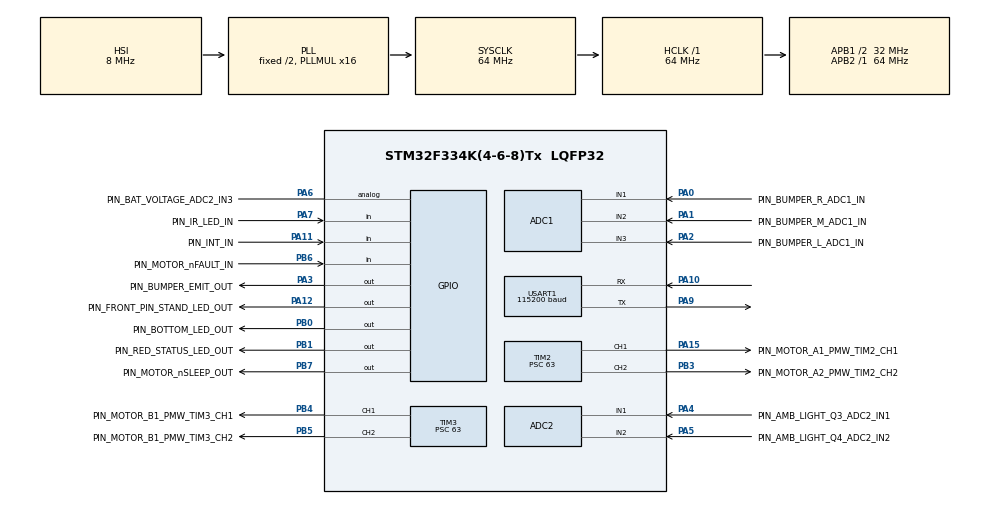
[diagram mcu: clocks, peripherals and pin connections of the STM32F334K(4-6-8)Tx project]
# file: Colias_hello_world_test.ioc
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ADC1.Channel-0\#ChannelRegularConversion=ADC_CHANNEL_1
ADC1.NbrOfConversionFlag=1
ADC1.Offset-0\#ChannelRegularConversion=0
ADC1.OffsetNumber-0\#ChannelRegularConversion=ADC_OFFSET_NONE
ADC1.Rank-0\#ChannelRegularConversion=1
ADC1.SamplingTime-0\#ChannelRegularConversion=ADC_SAMPLETIME_1CYCLE_5
ADC1.SubFamily=STM32F334x8
ADC1.master=1
ADC2.Channel-1\#ChannelRegularConversion=ADC_CHANNEL_1
ADC2.NbrOfConversionFlag=1
ADC2.Offset-1\#ChannelRegularConversion=0
ADC2.OffsetNumber-1\#ChannelRegularConversion=ADC_OFFSET_NONE
ADC2.Rank-1\#ChannelRegularConversion=1
ADC2.SamplingTime-1\#ChannelRegularConversion=ADC_SAMPLETIME_1CYCLE_5
ADC2.SubFamily=STM32F334x8
Mcu.Family=STM32F3
Mcu.Name=STM32F334K(4-6-8)Tx
Mcu.Package=LQFP32
NVIC.PriorityGroup=NVIC_PRIORITYGROUP_4
PA0.GPIO_Label=PIN_BUMPER_R_ADC1_IN
PA0.Mode=IN1-Single-Ended
PA0.Signal=ADC1_IN1
PA1.GPIO_Label=PIN_BUMPER_M_ADC1_IN
PA1.Mode=IN2-Single-Ended
PA1.Signal=ADC1_IN2
PA10.Mode=Asynchronous
PA10.Signal=USART1_RX
PA11.GPIO_Label=PIN_INT_IN
PA11.Signal=GPIO_Input
PA12.GPIO_Label=PIN_FRONT_PIN_STAND_LED_OUT
PA12.Signal=GPIO_Output
PA13.Mode=Serial_Wire
PA13.Signal=SYS_JTMS-SWDIO
PA14.Mode=Serial_Wire
PA14.Signal=SYS_JTCK-SWCLK
PA15.GPIO_Label=PIN_MOTOR_A1_PMW_TIM2_CH1
PA15.Signal=S_TIM2_CH1_ETR
PA2.GPIO_Label=PIN_BUMPER_L_ADC1_IN
PA2.Mode=IN3-Single-Ended
PA2.Signal=ADC1_IN3
PA3.GPIO_Label=PIN_BUMPER_EMIT_OUT
PA3.Signal=GPIO_Output
PA4.GPIO_Label=PIN_AMB_LIGHT_Q3_ADC2_IN1
PA4.Mode=IN1-Single-Ended
PA4.Signal=ADC2_IN1
PA5.GPIO_Label=PIN_AMB_LIGHT_Q4_ADC2_IN2
PA5.Mode=IN2-Single-Ended
PA5.Signal=ADC2_IN2
PA6.GPIO_Label=PIN_BAT_VOLTAGE_ADC2_IN3
PA6.Signal=SharedAnalog_PA6
PA7.GPIO_Label=PIN_IR_LED_IN
PA7.Signal=GPIO_Input
PA9.Mode=Asynchronous
PA9.Signal=USART1_TX
PB0.GPIO_Label=PIN_BOTTOM_LED_OUT
PB0.Signal=GPIO_Output
PB1.GPIO_Label=PIN_RED_STATUS_LED_OUT
PB1.Signal=GPIO_Output
PB3.GPIO_Label=PIN_MOTOR_A2_PMW_TIM2_CH2
PB3.Signal=S_TIM2_CH2
PB4.GPIO_Label=PIN_MOTOR_B1_PMW_TIM3_CH1
PB4.Signal=S_TIM3_CH1
PB5.GPIO_Label=PIN_MOTOR_B1_PMW_TIM3_CH2
PB5.Signal=S_TIM3_CH2
PB6.GPIO_Label=PIN_MOTOR_nFAULT_IN
PB6.Signal=GPIO_Input
PB7.GPIO_Label=PIN_MOTOR_nSLEEP_OUT
PB7.Signal=GPIO_Output
ProjectManager.HeapSize=0x200
ProjectManager.StackSize=0x400
ProjectManager.TargetToolchain=STM32CubeIDE
RCC.AHBFreq_Value=64000000
RCC.APB1CLKDivider=RCC_HCLK_DIV2
RCC.APB1Freq_Value=32000000
RCC.APB1TimFreq_Value=64000000
RCC.APB2Freq_Value=64000000
RCC.APB2TimFreq_Value=64000000
RCC.CortexFreq_Value=64000000
RCC.HCLKFreq_Value=64000000
RCC.HSE_VALUE=8000000
RCC.HSI_VALUE=8000000
RCC.PLLMUL=RCC_PLL_MUL16
RCC.SYSCLKFreq_VALUE=64000000
RCC.SYSCLKSourceVirtual=RCC_SYSCLKSOURCE_PLLCLK
SH.S_TIM2_CH1_ETR.0=TIM2_CH1,PWM Generation1 CH1
SH.S_TIM2_CH2.0=TIM2_CH2,PWM Generation2 CH2
SH.S_TIM3_CH1.0=TIM3_CH1,PWM Generation1 CH1
SH.S_TIM3_CH2.0=TIM3_CH2,PWM Generation2 CH2
SH.SharedAnalog_PA6.0=GPIO_Analog
SH.SharedAnalog_PA6.1=ADC2_IN3
TIM2.AutoReloadPreload=TIM_AUTORELOAD_PRELOAD_ENABLE
TIM2.Channel-PWM\ Generation1\ CH1=TIM_CHANNEL_1
TIM2.Channel-PWM\ Generation2\ CH2=TIM_CHANNEL_2
TIM2.Period=999
TIM2.Prescaler=63
TIM3.Channel-PWM\ Generation1\ CH1=TIM_CHANNEL_1
TIM3.Channel-PWM\ Generation2\ CH2=TIM_CHANNEL_2
TIM3.Period=999
TIM3.Prescaler=63
USART1.BaudRate=115200
USART1.VirtualMode-Asynchronous=VM_ASYNC
VP_TIM2_VS_ClockSourceINT.Mode=Internal
VP_TIM3_VS_ClockSourceINT.Mode=Internal
board=custom

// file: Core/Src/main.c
/* USER CODE BEGIN Header */
/**
  ******************************************************************************
  * @file           : main.c
  * @brief          : Main program body
  ******************************************************************************
  * @attention
  *
  * Copyright (c) 2024 STMicroelectronics.
  * All rights reserved.
  *
  * This software is licensed under terms that can be found in the LICENSE file
  * in the root directory of this software component.
  * If no LICENSE file comes with this software, it is provided AS-IS.
  *
  ******************************************************************************
  */
/* USER CODE END Header */
#include "main.h"

ADC_HandleTypeDef hadc1;
ADC_HandleTypeDef hadc2;

TIM_HandleTypeDef htim2;
TIM_HandleTypeDef htim3;

UART_HandleTypeDef huart1;

void SystemClock_Config(void);
static void MX_GPIO_Init(void);
static void MX_ADC1_Init(void);
static void MX_ADC2_Init(void);
static void MX_USART1_UART_Init(void);
static void MX_TIM2_Init(void);
static void MX_TIM3_Init(void);

int main(void)
{

  /* MCU Configuration--------------------------------------------------------*/

  /* Reset of all peripherals, Initializes the Flash interface and the Systick. */
  HAL_Init();

  /* Configure the system clock */
  SystemClock_Config();

  /* Initialize all configured peripherals */
  MX_GPIO_Init();
  MX_ADC1_Init();
  MX_ADC2_Init();
  MX_USART1_UART_Init();
  MX_TIM2_Init();
  MX_TIM3_Init();
  /* USER CODE BEGIN 2 */
  uint8_t message[] = "hello\r\n";

  HAL_TIM_PWM_Start(&htim2, TIM_CHANNEL_1);
  HAL_TIM_PWM_Start(&htim2, TIM_CHANNEL_2);
  HAL_TIM_PWM_Start(&htim3, TIM_CHANNEL_1);
  HAL_TIM_PWM_Start(&htim3, TIM_CHANNEL_2);

  HAL_GPIO_WritePin(PIN_MOTOR_nSLEEP_OUT_GPIO_Port, PIN_MOTOR_nSLEEP_OUT_Pin, GPIO_PIN_SET);

  int32_t leftMotorPWM = 0;

  /* USER CODE END 2 */

  /* Infinite loop */
  while (1)
  {

    /* USER CODE BEGIN 3 */

	  /* Transmit "hello" via UART */
	 HAL_UART_Transmit(&huart1, message, sizeof(message) - 1, HAL_MAX_DELAY); // Transmit "hello"
	 HAL_GPIO_TogglePin(PIN_RED_STATUS_LED_OUT_GPIO_Port, PIN_RED_STATUS_LED_OUT_Pin);

	 __HAL_TIM_SET_COMPARE(&htim2, TIM_CHANNEL_2, 500);
	 __HAL_TIM_SET_COMPARE(&htim3, TIM_CHANNEL_2, 500);

//	 TIM2->CCR2 = PWM_MAX/2;
	 HAL_Delay(1000); // Delay 1 second

	 __HAL_TIM_SET_COMPARE(&htim2, TIM_CHANNEL_2, 0);
	 __HAL_TIM_SET_COMPARE(&htim3, TIM_CHANNEL_2, 0);
//	 TIM2->CCR2 = 0;
	 HAL_Delay(1000); // Delay 1 second

	 __HAL_TIM_SET_COMPARE(&htim2, TIM_CHANNEL_1, 500);
	 __HAL_TIM_SET_COMPARE(&htim3, TIM_CHANNEL_1, 500);
//	 TIM2->CCR2 = PWM_MAX/2;
	 HAL_Delay(1000); // Delay 1 second

	 __HAL_TIM_SET_COMPARE(&htim2, TIM_CHANNEL_1, 0);
	 __HAL_TIM_SET_COMPARE(&htim3, TIM_CHANNEL_1, 0);
//	 TIM2->CCR2 = 0;
	 HAL_Delay(1000); // Delay 1 second

  }
  /* USER CODE END 3 */
}

void SystemClock_Config(void)
{
  RCC_OscInitTypeDef RCC_OscInitStruct = {0};
  RCC_ClkInitTypeDef RCC_ClkInitStruct = {0};
  RCC_PeriphCLKInitTypeDef PeriphClkInit = {0};

  /** Initializes the RCC Oscillators according to the specified parameters
  * in the RCC_OscInitTypeDef structure.
  */
  RCC_OscInitStruct.OscillatorType = RCC_OSCILLATORTYPE_HSI;
  RCC_OscInitStruct.HSIState = RCC_HSI_ON;
  RCC_OscInitStruct.HSICalibrationValue = RCC_HSICALIBRATION_DEFAULT;
  RCC_OscInitStruct.PLL.PLLState = RCC_PLL_ON;
  RCC_OscInitStruct.PLL.PLLSource = RCC_PLLSOURCE_HSI;
  RCC_OscInitStruct.PLL.PLLMUL = RCC_PLL_MUL16;
  if (HAL_RCC_OscConfig(&RCC_OscInitStruct) != HAL_OK)
  {
    Error_Handler();
  }

  /** Initializes the CPU, AHB and APB buses clocks
  */
  RCC_ClkInitStruct.ClockType = RCC_CLOCKTYPE_HCLK|RCC_CLOCKTYPE_SYSCLK
                              |RCC_CLOCKTYPE_PCLK1|RCC_CLOCKTYPE_PCLK2;
  RCC_ClkInitStruct.SYSCLKSource = RCC_SYSCLKSOURCE_PLLCLK;
  RCC_ClkInitStruct.AHBCLKDivider = RCC_SYSCLK_DIV1;
  RCC_ClkInitStruct.APB1CLKDivider = RCC_HCLK_DIV2;
  RCC_ClkInitStruct.APB2CLKDivider = RCC_HCLK_DIV1;

  if (HAL_RCC_ClockConfig(&RCC_ClkInitStruct, FLASH_LATENCY_2) != HAL_OK)
  {
    Error_Handler();
  }
  PeriphClkInit.PeriphClockSelection = RCC_PERIPHCLK_USART1|RCC_PERIPHCLK_ADC12;
  PeriphClkInit.Usart1ClockSelection = RCC_USART1CLKSOURCE_PCLK1;
  PeriphClkInit.Adc12ClockSelection = RCC_ADC12PLLCLK_DIV1;
  if (HAL_RCCEx_PeriphCLKConfig(&PeriphClkInit) != HAL_OK)
  {
    Error_Handler();
  }
}

static void MX_ADC1_Init(void)
{

  ADC_MultiModeTypeDef multimode = {0};
  ADC_ChannelConfTypeDef sConfig = {0};

  /** Common config
  */
  hadc1.Instance = ADC1;
  hadc1.Init.ClockPrescaler = ADC_CLOCK_ASYNC_DIV1;
  hadc1.Init.Resolution = ADC_RESOLUTION_12B;
  hadc1.Init.ScanConvMode = ADC_SCAN_DISABLE;
  hadc1.Init.ContinuousConvMode = DISABLE;
  hadc1.Init.DiscontinuousConvMode = DISABLE;
  hadc1.Init.ExternalTrigConvEdge = ADC_EXTERNALTRIGCONVEDGE_NONE;
  hadc1.Init.ExternalTrigConv = ADC_SOFTWARE_START;
  hadc1.Init.DataAlign = ADC_DATAALIGN_RIGHT;
  hadc1.Init.NbrOfConversion = 1;
  hadc1.Init.DMAContinuousRequests = DISABLE;
  hadc1.Init.EOCSelection = ADC_EOC_SINGLE_CONV;
  hadc1.Init.LowPowerAutoWait = DISABLE;
  hadc1.Init.Overrun = ADC_OVR_DATA_OVERWRITTEN;
  if (HAL_ADC_Init(&hadc1) != HAL_OK)
  {
    Error_Handler();
  }

  /** Configure the ADC multi-mode
  */
  multimode.Mode = ADC_MODE_INDEPENDENT;
  if (HAL_ADCEx_MultiModeConfigChannel(&hadc1, &multimode) != HAL_OK)
  {
    Error_Handler();
  }

  /** Configure Regular Channel
  */
  sConfig.Channel = ADC_CHANNEL_1;
  sConfig.Rank = ADC_REGULAR_RANK_1;
  sConfig.SingleDiff = ADC_SINGLE_ENDED;
  sConfig.SamplingTime = ADC_SAMPLETIME_1CYCLE_5;
  sConfig.OffsetNumber = ADC_OFFSET_NONE;
  sConfig.Offset = 0;
  if (HAL_ADC_ConfigChannel(&hadc1, &sConfig) != HAL_OK)
  {
    Error_Handler();
  }

}

static void MX_ADC2_Init(void)
{

  ADC_ChannelConfTypeDef sConfig = {0};

  /** Common config
  */
  hadc2.Instance = ADC2;
  hadc2.Init.ClockPrescaler = ADC_CLOCK_ASYNC_DIV1;
  hadc2.Init.Resolution = ADC_RESOLUTION_12B;
  hadc2.Init.ScanConvMode = ADC_SCAN_DISABLE;
  hadc2.Init.ContinuousConvMode = DISABLE;
  hadc2.Init.DiscontinuousConvMode = DISABLE;
  hadc2.Init.ExternalTrigConvEdge = ADC_EXTERNALTRIGCONVEDGE_NONE;
  hadc2.Init.ExternalTrigConv = ADC_SOFTWARE_START;
  hadc2.Init.DataAlign = ADC_DATAALIGN_RIGHT;
  hadc2.Init.NbrOfConversion = 1;
  hadc2.Init.DMAContinuousRequests = DISABLE;
  hadc2.Init.EOCSelection = ADC_EOC_SINGLE_CONV;
  hadc2.Init.LowPowerAutoWait = DISABLE;
  hadc2.Init.Overrun = ADC_OVR_DATA_OVERWRITTEN;
  if (HAL_ADC_Init(&hadc2) != HAL_OK)
  {
    Error_Handler();
  }

  /** Configure Regular Channel
  */
  sConfig.Channel = ADC_CHANNEL_1;
  sConfig.Rank = ADC_REGULAR_RANK_1;
  sConfig.SingleDiff = ADC_SINGLE_ENDED;
  sConfig.SamplingTime = ADC_SAMPLETIME_1CYCLE_5;
  sConfig.OffsetNumber = ADC_OFFSET_NONE;
  sConfig.Offset = 0;
  if (HAL_ADC_ConfigChannel(&hadc2, &sConfig) != HAL_OK)
  {
    Error_Handler();
  }

}

static void MX_TIM2_Init(void)
{

  TIM_ClockConfigTypeDef sClockSourceConfig = {0};
  TIM_MasterConfigTypeDef sMasterConfig = {0};
  TIM_OC_InitTypeDef sConfigOC = {0};

  htim2.Instance = TIM2;
  htim2.Init.Prescaler = 63;
  htim2.Init.CounterMode = TIM_COUNTERMODE_UP;
  htim2.Init.Period = 999;
  htim2.Init.ClockDivision = TIM_CLOCKDIVISION_DIV1;
  htim2.Init.AutoReloadPreload = TIM_AUTORELOAD_PRELOAD_ENABLE;
  if (HAL_TIM_Base_Init(&htim2) != HAL_OK)
  {
    Error_Handler();
  }
  sClockSourceConfig.ClockSource = TIM_CLOCKSOURCE_INTERNAL;
  if (HAL_TIM_ConfigClockSource(&htim2, &sClockSourceConfig) != HAL_OK)
  {
    Error_Handler();
  }
  if (HAL_TIM_PWM_Init(&htim2) != HAL_OK)
  {
    Error_Handler();
  }
  sMasterConfig.MasterOutputTrigger = TIM_TRGO_RESET;
  sMasterConfig.MasterSlaveMode = TIM_MASTERSLAVEMODE_DISABLE;
  if (HAL_TIMEx_MasterConfigSynchronization(&htim2, &sMasterConfig) != HAL_OK)
  {
    Error_Handler();
  }
  sConfigOC.OCMode = TIM_OCMODE_PWM1;
  sConfigOC.Pulse = 0;
  sConfigOC.OCPolarity = TIM_OCPOLARITY_HIGH;
  sConfigOC.OCFastMode = TIM_OCFAST_DISABLE;
  if (HAL_TIM_PWM_ConfigChannel(&htim2, &sConfigOC, TIM_CHANNEL_1) != HAL_OK)
  {
    Error_Handler();
  }
  if (HAL_TIM_PWM_ConfigChannel(&htim2, &sConfigOC, TIM_CHANNEL_2) != HAL_OK)
  {
    Error_Handler();
  }
  HAL_TIM_MspPostInit(&htim2);

}

static void MX_TIM3_Init(void)
{

  TIM_ClockConfigTypeDef sClockSourceConfig = {0};
  TIM_MasterConfigTypeDef sMasterConfig = {0};
  TIM_OC_InitTypeDef sConfigOC = {0};

  htim3.Instance = TIM3;
  htim3.Init.Prescaler = 63;
  htim3.Init.CounterMode = TIM_COUNTERMODE_UP;
  htim3.Init.Period = 999;
  htim3.Init.ClockDivision = TIM_CLOCKDIVISION_DIV1;
  htim3.Init.AutoReloadPreload = TIM_AUTORELOAD_PRELOAD_DISABLE;
  if (HAL_TIM_Base_Init(&htim3) != HAL_OK)
  {
    Error_Handler();
  }
  sClockSourceConfig.ClockSource = TIM_CLOCKSOURCE_INTERNAL;
  if (HAL_TIM_ConfigClockSource(&htim3, &sClockSourceConfig) != HAL_OK)
  {
    Error_Handler();
  }
  if (HAL_TIM_PWM_Init(&htim3) != HAL_OK)
  {
    Error_Handler();
  }
  sMasterConfig.MasterOutputTrigger = TIM_TRGO_RESET;
  sMasterConfig.MasterSlaveMode = TIM_MASTERSLAVEMODE_DISABLE;
  if (HAL_TIMEx_MasterConfigSynchronization(&htim3, &sMasterConfig) != HAL_OK)
  {
    Error_Handler();
  }
  sConfigOC.OCMode = TIM_OCMODE_PWM1;
  sConfigOC.Pulse = 0;
  sConfigOC.OCPolarity = TIM_OCPOLARITY_HIGH;
  sConfigOC.OCFastMode = TIM_OCFAST_DISABLE;
  if (HAL_TIM_PWM_ConfigChannel(&htim3, &sConfigOC, TIM_CHANNEL_1) != HAL_OK)
  {
    Error_Handler();
  }
  if (HAL_TIM_PWM_ConfigChannel(&htim3, &sConfigOC, TIM_CHANNEL_2) != HAL_OK)
  {
    Error_Handler();
  }
  HAL_TIM_MspPostInit(&htim3);

}

static void MX_USART1_UART_Init(void)
{

  huart1.Instance = USART1;
  huart1.Init.BaudRate = 115200;
  huart1.Init.WordLength = UART_WORDLENGTH_8B;
  huart1.Init.StopBits = UART_STOPBITS_1;
  huart1.Init.Parity = UART_PARITY_NONE;
  huart1.Init.Mode = UART_MODE_TX_RX;
  huart1.Init.HwFlowCtl = UART_HWCONTROL_NONE;
  huart1.Init.OverSampling = UART_OVERSAMPLING_16;
  huart1.Init.OneBitSampling = UART_ONE_BIT_SAMPLE_DISABLE;
  huart1.AdvancedInit.AdvFeatureInit = UART_ADVFEATURE_NO_INIT;
  if (HAL_UART_Init(&huart1) != HAL_OK)
  {
    Error_Handler();
  }

}

static void MX_GPIO_Init(void)
{
  GPIO_InitTypeDef GPIO_InitStruct = {0};

  /* GPIO Ports Clock Enable */
  __HAL_RCC_GPIOA_CLK_ENABLE();
  __HAL_RCC_GPIOB_CLK_ENABLE();

  /*Configure GPIO pin Output Level */
  HAL_GPIO_WritePin(GPIOA, PIN_BUMPER_EMIT_OUT_Pin|PIN_FRONT_PIN_STAND_LED_OUT_Pin, GPIO_PIN_RESET);

  /*Configure GPIO pin Output Level */
  HAL_GPIO_WritePin(GPIOB, PIN_BOTTOM_LED_OUT_Pin|PIN_RED_STATUS_LED_OUT_Pin|PIN_MOTOR_nSLEEP_OUT_Pin, GPIO_PIN_RESET);

  /*Configure GPIO pins : PIN_BUMPER_EMIT_OUT_Pin PIN_FRONT_PIN_STAND_LED_OUT_Pin */
  GPIO_InitStruct.Pin = PIN_BUMPER_EMIT_OUT_Pin|PIN_FRONT_PIN_STAND_LED_OUT_Pin;
  GPIO_InitStruct.Mode = GPIO_MODE_OUTPUT_PP;
  GPIO_InitStruct.Pull = GPIO_NOPULL;
  GPIO_InitStruct.Speed = GPIO_SPEED_FREQ_LOW;
  HAL_GPIO_Init(GPIOA, &GPIO_InitStruct);

  /*Configure GPIO pins : PIN_IR_LED_IN_Pin PIN_INT_IN_Pin */
  GPIO_InitStruct.Pin = PIN_IR_LED_IN_Pin|PIN_INT_IN_Pin;
  GPIO_InitStruct.Mode = GPIO_MODE_INPUT;
  GPIO_InitStruct.Pull = GPIO_NOPULL;
  HAL_GPIO_Init(GPIOA, &GPIO_InitStruct);

  /*Configure GPIO pins : PIN_BOTTOM_LED_OUT_Pin PIN_RED_STATUS_LED_OUT_Pin PIN_MOTOR_nSLEEP_OUT_Pin */
  GPIO_InitStruct.Pin = PIN_BOTTOM_LED_OUT_Pin|PIN_RED_STATUS_LED_OUT_Pin|PIN_MOTOR_nSLEEP_OUT_Pin;
  GPIO_InitStruct.Mode = GPIO_MODE_OUTPUT_PP;
  GPIO_InitStruct.Pull = GPIO_NOPULL;
  GPIO_InitStruct.Speed = GPIO_SPEED_FREQ_LOW;
  HAL_GPIO_Init(GPIOB, &GPIO_InitStruct);

  /*Configure GPIO pin : PIN_MOTOR_nFAULT_IN_Pin */
  GPIO_InitStruct.Pin = PIN_MOTOR_nFAULT_IN_Pin;
  GPIO_InitStruct.Mode = GPIO_MODE_INPUT;
  GPIO_InitStruct.Pull = GPIO_NOPULL;
  HAL_GPIO_Init(PIN_MOTOR_nFAULT_IN_GPIO_Port, &GPIO_InitStruct);

}

void Error_Handler(void)
{
  __disable_irq();
  while (1)
  {
  }
}
